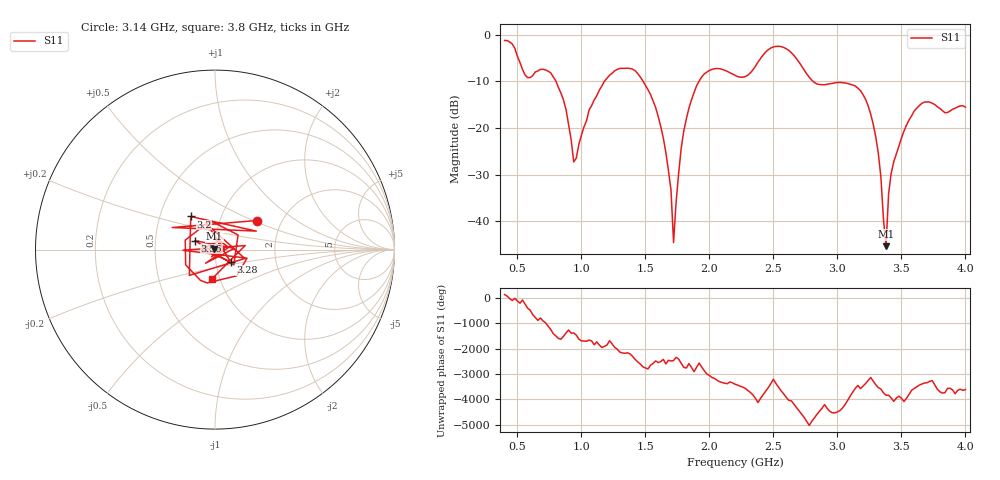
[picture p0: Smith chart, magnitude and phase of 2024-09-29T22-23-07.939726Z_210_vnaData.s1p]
!Created with skrf (http://scikit-rf.org).
# Hz S RI R 50.0
!freq ReS11 ImS11
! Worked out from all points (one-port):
!   181 points, 400 MHz to 4 GHz, reference 50 ohm
!   lowest |S11| = -45.4 dB at 3.38 GHz (marker M1), VSWR 1.01, Z = 49.7 + j0.441 ohm
!   |S11| at or under -10 dB: 801.5 MHz to 1.179 GHz (377.5 MHz wide, 38.1 % of centre); 1.482 GHz to 1.918 GHz (436 MHz wide, 25.6 % of centre); 2.811 GHz to end of sweep
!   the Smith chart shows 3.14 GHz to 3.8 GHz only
!   S11 on the Smith chart (normalised r, x): 3.14 GHz: 1.49, +0.52; 3.2 GHz: 0.72, +0.28; 3.28 GHz: 1.18, -0.16; 3.56 GHz: 0.80, +0.08; 3.8 GHz: 0.92, -0.31
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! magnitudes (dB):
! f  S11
! 400 MHz  -1.2
! 860 MHz  -14.0
! 940 MHz  -27.3
! 1.06 GHz  -16.1
! 1.3 GHz  -7.2
! 1.44 GHz  -8.3
! 1.58 GHz  -15.6
! 1.68 GHz  -29.1
! 1.7 GHz  -33.3
! 1.72 GHz  -44.6
! 1.76 GHz  -29.7
! 1.82 GHz  -18.0
! 1.92 GHz  -9.9
! 2.2 GHz  -8.7
! 2.5 GHz  -2.6
! 2.66 GHz  -4.4
! 2.84 GHz  -10.5
! 3.1 GHz  -10.6
! 3.14 GHz  -11.0
! 3.2 GHz  -12.8
! 3.28 GHz  -19.2
! 3.34 GHz  -30.6
! 3.38 GHz  -45.4
! 3.4 GHz  -34.1
! 3.42 GHz  -29.8
! 3.56 GHz  -18.3
! 3.8 GHz  -15.8
! 4 GHz  -15.5
